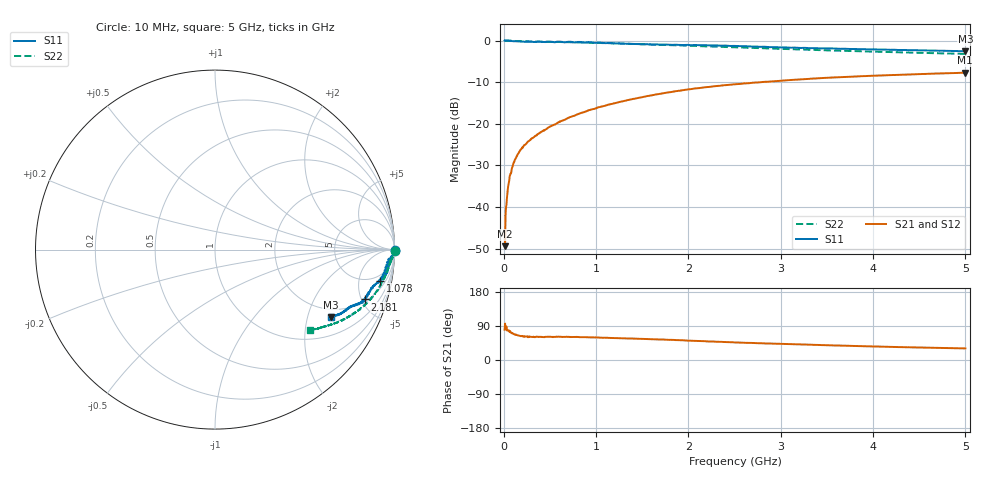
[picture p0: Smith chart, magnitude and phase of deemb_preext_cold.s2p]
! Forward-simulated: Re-embedded (raw/measured) — deemb_preext_cold.s2p
!  source_deembedded_file = deemb_preext_cold.s2p
!  Cpbe_fF = 22.0
!  Cpce_fF = 18.0
!  Cpbc_fF = 5.0
!  Lb_pH = 45.0
!  Lc_pH = 42.0
!  Le_pH = 6.0
!  Rpb_ohm = 0.0
!  Rpc_ohm = 0.0
!  Rpe_ohm = 0.0
# Hz S DB R 50
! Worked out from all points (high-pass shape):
!   1001 points, 10 MHz to 5 GHz, reference 50 ohm
!   highest |S21| = -7.71 dB at 4.995 GHz (marker M1); lowest = -49.4 dB at 14.99 MHz (marker M2)
!   |S21| within 3 dB of the highest: 2.393 GHz to end of sweep
!   lowest |S11| = -2.6 dB at 5 GHz (marker M3), VSWR 6.85, Z = 83.2 - j140 ohm
!   |S11| at or under -10 dB: nowhere
!   |S22| runs from -3.2 to 0.0 dB; largest |S21 - S12| = 0.0032
!   S11 on the Smith chart (normalised r, x): 10 MHz: open; 1.078 GHz: 3, -10; 2.181 GHz: 2.15, -5.35; 5 GHz: 1.66, -2.80
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1e7  0.03 -0.2  -45.54 79.9  -53.58 89.2  0.01 -0.4
1.499e7  -0.06 -0.4  -49.39 95.9  -44.50 87.4  -0.02 -0.3
3.994e7  -0.01 -1.0  -36.77 78.9  -36.87 80.7  0.01 -0.9
4.493e7  -0.01 -1.1  -35.65 78.0  -35.87 77.8  0.01 -1.0
5.99e7  -0.06 -1.3  -33.67 77.2  -33.67 75.2  0.01 -1.5
7.487e7  -0.08 -1.9  -31.93 73.1  -31.89 73.6  -0.02 -1.6
9.982e7  -0.14 -2.2  -29.92 70.4  -29.92 70.6  -0.06 -2.1
1.2976e8  -0.16 -2.6  -28.27 66.0  -28.42 67.3  -0.09 -2.5
1.6968e8  -0.19 -2.9  -26.63 64.1  -26.70 63.8  -0.11 -3.0
2.0461e8  -0.28 -3.0  -25.78 62.5  -25.67 62.4  -0.18 -3.6
2.7946e8  -0.26 -3.7  -24.01 62.0  -23.99 61.5  -0.19 -4.4
4.0421e8  -0.28 -4.8  -21.95 60.8  -21.95 60.9  -0.25 -5.9
6.1379e8  -0.26 -6.6  -19.39 61.1  -19.45 60.9  -0.35 -8.3
8.4333e8  -0.37 -8.7  -17.36 60.2  -17.35 60.2  -0.47 -11.1
1.07786e9  -0.56 -10.7  -15.76 58.7  -15.77 58.9  -0.60 -13.7
1.67666e9  -0.95 -14.4  -12.85 54.2  -12.86 54.2  -0.99 -20.0
2.18065e9  -1.10 -18.4  -11.20 49.5  -11.21 49.5  -1.35 -24.5
2.505e9  -1.27 -20.3  -10.49 46.3  -10.48 46.4  -1.61 -26.9
3.33833e9  -1.81 -23.8  -9.13 40.3  -9.13 40.3  -2.22 -32.4
4.17166e9  -2.22 -27.8  -8.29 34.7  -8.30 34.7  -2.75 -36.8
4.99501e9  -2.55 -30.2  -7.71 30.6  -7.73 30.4  -3.19 -40.5
5e9  -2.56 -30.2  -7.73 30.6  -7.72 30.4  -3.19 -40.4
